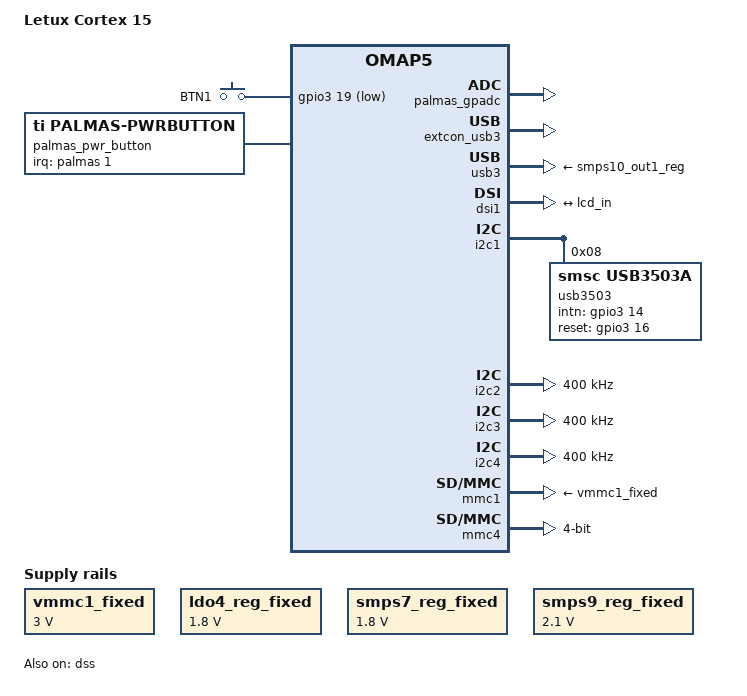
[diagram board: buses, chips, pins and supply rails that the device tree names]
/*
 * Copyright (C) 2015 Golden Delicous Computers - http://www.goldelico.com/
 *
 * This program is free software; you can redistribute it and/or modify
 * it under the terms of the GNU General Public License version 2 as
 * published by the Free Software Foundation.
 */

/* this version is for the Letux Cortex 15 CPU board */

/* we start with the omap5-uevm tree since the Letux Cortex is very similar */

#include "omap5-uevm.dts"

/* overwrite device model */

/ {
	model = "Letux Cortex 15";
};

&palmas {
	palmas_pwr_button: pwrbutton {
		compatible = "ti,palmas-pwrbutton";
		interrupt-parent = <&palmas>;
		interrupts = <1 IRQ_TYPE_EDGE_FALLING>;
		ti,palmas-long-press-seconds = <8>;
		ti,palmas-pwron-debounce-milli-seconds = <15>;
	};
	palmas_gpadc: gpadc {
		compatible = "ti,palmas-gpadc";
/*		ti,ch0_current = 0;
		ti,ch3_current = 0;
		ti,bat_removal = 0;
		ti,start_polarity = 0; */
	};

	extcon_usb3: palmas_usb {
		compatible = "ti,palmas-usb-vid";
		ti,enable-vbus-detection;
		ti,enable-id-detection;
		ti,wakeup;
	};

};

&usb3 {
       extcon = <&extcon_usb3>;
       vbus-supply = <&smps10_out1_reg>;
};

/* Audio routing */

&sound {
	ti,model = "Letux Cortex 15";

	pinctrl-names = "default";
	pinctrl-0 = <&ckobuffer>;

	/* Audio routing */
	ti,audio-routing =
		"Headset Stereophone", "HSOL",
		"Headset Stereophone", "HSOR",
		"Ext Spk", "HFL",
		"Ext Spk", "HFR",
		"Line Out", "AUXL",
		"Line Out", "AUXR",
		"AFML", "Line In",
		"AFMR", "Line In",
		"HSMIC", "Headset Mic",
		"Headset Mic", "Headset Mic Bias";
};

&twl6040_pins {
	pinctrl-single,pins = <
		OMAP5_IOPAD(0x0b2, PIN_INPUT_PULLUP | MUX_MODE6)	/* 0x0B0:[31:16]  gpio3_81 - twl6040 poweron */
	>;
};

&twl6040 {
	ti,audpwron-gpio = <&gpio3 17 0>;  /* gpio line 3_81 */
};

/* Audio needs clock enabled */

/ { /* should better be moved to omap5.dtsi because it is of general interest */
	ocp {
		omap5_control_ckobuffer: pinmux@4ae0cdb4 {
			compatible = "ti,omap4-padconf", "pinctrl-single";
			reg = <0x4ae0cdb4 4>;   /* Single register */
			#address-cells = <1>;
			#size-cells = <0>;
			pinctrl-single,register-width = <32>;
			pinctrl-single,function-mask = <0xf0000000>;
			pinctrl-single,bit-per-mux;
		};
	};
};

&omap5_control_ckobuffer {
	ckobuffer: pinmux_ckobuffer {
		pinctrl-single,pins = <
		/* same as devmem2 0x4AE0CDB4 w 0x10000000 */
		0x0 0x10000000  /* CONTROL.CONTROL_CKOBUFFER[28] CKOBUFFER_CLK_EN := 1 */
		>;
        };
};

/* LCD panel - MIPI */

&dss {
	status = "ok";

	pinctrl-names = "default";
	pinctrl-0 = <&mipi_dsi_a>;

	port {
		dsi_out: endpoint {
			remote-endpoint = <&dsi1>;
		};
	};
};

&dsi1 {
	status = "ok";

	vdd-supply = <&ldo4_reg>;

	port {
		dsi1_out_ep: endpoint {
			remote-endpoint = <&lcd_in>;
			lanes = <
				1       /* lane0x = clk - */
				0       /* lane0y = clk + */
				3       /* lane1x = data1 - */
				2       /* lane1y = data1 + */
				5       /* lane2x = data2 - */
				4       /* lane2y = data2 + */
				7       /* lane3x = data3 - */
				6       /* lane3y = data3 + */
				9       /* lane4x = data4 - */
				8       /* lane4y = data4 + */
			>;
		};
	};

	lcd: lcd {
		/* default to be overwritten by specific panel in derived board file
		   by using the /root/panelselect script */

		label = "lcd";

		pinctrl-names = "default";
		pinctrl-0 = <&mipi_display_pins>;

		port {
			lcd_in: endpoint {
				remote-endpoint = <&dsi1_out_ep>;
			};
		};
	};
};


/* add overlay pimmux for Letux Cortex 15 (differences to EVM) */

&omap5_pmx_core {

	pinctrl-0 = <
			/* copied from original */
			&usbhost_pins
			&led_gpio_pins

			/* new entries */
			&letux_button_pins
			&letux_other_pins
	>;

/* to find pinmux register offsets, see section A.7.2 in TRM

   note: offsets in the table are relative to 0x4a00 2800
   but reg = <0x4a002840 0x01b6> for omap5_pmx_core

   Therefore gpio5_153 with Address Offset 0x1D4
   translates into 0x194 (0xd0-0x40 => 0x90)
   and because it has [31:16] we have to add 0x02
   giving a result of 0x196.

   Definitions for bit patterns:
   0x0007	MUX_MODE0 .. MUX_MODE7
   0x0008	enable pull up/down
   0x0010	select pull up
   0x0020	disable power for I/O cell
   0x0100	enable input buffer (there is no explicit "enable output buffer" because that is defined by the GPIO direction)
   0x4000	enable wakeup detection

   or use the OMAP5_IOPAD() macros to do the conversion. You still have to look
   up the pin and register address offset in the TRM.
*/

	letux_button_pins: pinmux_button_gpio_pins {
		pinctrl-single,pins = <
//			OMAP5_IOPAD(0x0b6, PIN_INPUT_PULLUP | MUX_MODE6)	/* 0x0B4:[31:16] user button gpio3_83  -- pullup is not really necessary since there is an external pullup */
		>;
	};

// checkme: are there conflicts with imported uevm pinmux entries?
/* yes
	usbhost_pins - gpio3_79, gpio3_80
	tca6424_pins - gpio3_78
*/

// CHEKME: attach wk7/11 and others to &usbhost_wkup_pins?

	letux_other_pins: pinmux_other_gpio_pins {
		pinctrl-single,pins = <
			OMAP5_IOPAD(0x046, PIN_INPUT | MUX_MODE6)	/* 0x044:[31:16]  gpio1_wk7 - boot select input */
// inherited		OMAP5_IOPAD(0x05a, PIN_OUTPUT | MUX_MODE0)	/* 0x058:[31:16]  gpio1_wk11 - 19.2 MHz clock out */
			OMAP5_IOPAD(0x08e, PIN_INPUT | MUX_MODE6)	/* 0x08C:[31:16]  gpio2_32 - board revision */
			OMAP5_IOPAD(0x054, PIN_INPUT | MUX_MODE6)	/* 0x054:[15:0]  gpio2_33 - board revision */
			OMAP5_IOPAD(0x0ac, PIN_INPUT | MUX_MODE6)	/* 0x0AC:[15:0]  gpio3_78 - hub interrupt */
/* FIXME: reset for USB3503A - should be output connected to reset pulse generator or chip specific driver and/or be controlled by PHY */
			OMAP5_IOPAD(0x0b0, PIN_INPUT_PULLUP | MUX_MODE6)	/* 0x0B0:[15:0]  gpio3_80 - hub reset */
			OMAP5_IOPAD(0x084, PIN_INPUT | MUX_MODE6)	/* 0x084:[31:16]  gpio3_82 - eMMC/uSD switch */
			OMAP5_IOPAD(0x1d6, PIN_OUTPUT | MUX_MODE6)	/* 0x1D4:[31:16]  gpio5_153 - status LED (heartbeat) */
		>;
	};

	mipi_display_pins: pinmux_display_gpio_pins {
		pinctrl-single,pins = <
			OMAP5_IOPAD(0x0ca, PIN_INPUT_PULLDOWN | MUX_MODE7)	/* 0x0C8:[31:16] gpio6_189 - VSYNC input */
			OMAP5_IOPAD(0x0f6, PIN_INPUT_PULLDOWN | MUX_MODE7)	/* 0x0F4:[31:16] gpio6_190 - choose MUX_MODE0 for PWM_TIMER9 - choose MUX_MODE7 if panel outputs the PWM */
		>;
	};

/* I2C pinmux (i2c1 and i2c5 inherited from uevm) */

	i2c2_pins: pinmux_i2c2_pins {
		pinctrl-single,pins = <
			OMAP5_IOPAD(0x1b8, PIN_INPUT_PULLUP | MUX_MODE0)		/* i2c2_scl */
			OMAP5_IOPAD(0x1ba, PIN_INPUT_PULLUP | MUX_MODE0)		/* i2c2_sda */
		>;
	};

	i2c3_pins: pinmux_i2c3_pins {
		pinctrl-single,pins = <
			OMAP5_IOPAD(0x17a, PIN_INPUT_PULLUP | MUX_MODE0)		/* i2c3_scl */
			OMAP5_IOPAD(0x17c, PIN_INPUT_PULLUP | MUX_MODE0)		/* i2c3_sda */
		>;
	};

	i2c4_pins: pinmux_i2c4_pins {
		pinctrl-single,pins = <
			OMAP5_IOPAD(0x0f8, PIN_INPUT_PULLUP | MUX_MODE0)		/* i2c4_scl (gpio7_200) */
			OMAP5_IOPAD(0x0fa, PIN_INPUT_PULLUP | MUX_MODE0)		/* i2c4_sda (gpio7_201) */
		>;
	};

/* enable MIPI pinmux - we may not really need this because the PinMux only has MUX_MODE0 */

	mipi_dsi_a: pinmux_dsi_a_pins {
		pinctrl-single,pins = <
			OMAP5_IOPAD(0x0cc, PIN_OUTPUT | MUX_MODE0)	/* 0x0cc:[15:0]  dsiporta_lane0x */
			OMAP5_IOPAD(0x0ce, PIN_OUTPUT | MUX_MODE0)	/* 0x0cc:[31:16] dsiporta_lane0y */
			OMAP5_IOPAD(0x0d0, PIN_OUTPUT | MUX_MODE0)	/* 0x0d0:[15:0]  dsiporta_lane1x */
			OMAP5_IOPAD(0x0d2, PIN_OUTPUT | MUX_MODE0)	/* 0x0d0:[31:16] dsiporta_lane1y */
			OMAP5_IOPAD(0x0d4, PIN_OUTPUT | MUX_MODE0)	/* 0x0d4:[15:0]  dsiporta_lane2x */
			OMAP5_IOPAD(0x0d6, PIN_OUTPUT | MUX_MODE0)	/* 0x0d4:[31:16] dsiporta_lane2y */
			OMAP5_IOPAD(0x0d8, PIN_OUTPUT | MUX_MODE0)	/* 0x0d8:[15:0]  dsiporta_lane3x */
			OMAP5_IOPAD(0x0da, PIN_OUTPUT | MUX_MODE0)	/* 0x0d8:[31:16] dsiporta_lane3y */
			OMAP5_IOPAD(0x0dc, PIN_OUTPUT | MUX_MODE0)	/* 0x0dc:[15:0]  dsiporta_lane4x */
			OMAP5_IOPAD(0x0de, PIN_OUTPUT | MUX_MODE0)	/* 0x0dc:[31:16] dsiporta_lane4y */
		>;
	};

};

&hsusb2_phy {
	reset-gpios = <0>; /* free up hub reset gpio3_80 */
};

&hsusb3_phy {
	compatible = "none"; /* not connected */
	reset-gpios = <0>; /* free up gpio3_79 */
};

&i2c1 {
	/* usb bridge */
	usb3503@08 {
		compatible = "smsc,usb3503a";
		reg = <0x08>;
		intn-gpios = <&gpio3 14 GPIO_ACTIVE_HIGH>;	// gpio3_78 interrupt
		reset-gpios = <&gpio3 16 GPIO_ACTIVE_HIGH>;	// gpio3_80 reset
	//	connect-gpios - none
	//	refclk	// comes from OMAP5 FREF_CLK1_OUT/GPIO1_W K11
	//	refclk-frequency 19.2 MHz
		initial-mode = <1>;
	};
};

&i2c2 {
	clock-frequency = <400000>;

	pinctrl-names = "default";
	pinctrl-0 = <&i2c2_pins>;
};

&i2c3 {
	clock-frequency = <400000>;

	pinctrl-names = "default";
	pinctrl-0 = <&i2c3_pins>;
};

&i2c4 {
	clock-frequency = <400000>;

	pinctrl-names = "default";
	pinctrl-0 = <&i2c4_pins>;
};

/ { /* should have been defined by uevm */

	user-button {
		compatible = "gpio-keys";

		#address-cells = <7>;
		#size-cells = <0>;

		BTN1 {
			label = "BTN1";
			linux,code = <169>;
			gpios = <&gpio3 19 GPIO_ACTIVE_LOW>;	/* gpio3_83 is User Button */
			gpio-key,wakeup;
			autorepeat;
			debounce_interval = <50>;
		};

	};
};

/* disable components not on the Letux Cortex 15 board */

&tpd12s015 {
	compatible = "none";	// disable
};

&gpio9 {
	compatible = "none";	// disable
	reg = <0x03>;	// overwrite duplicate i2c5 address inherited from omap5-uevm
};

/* patches to correctly bring up the Letux 15 V4 CPU Board with broken OMAP5 <-> Palmas I2C1 */

/ {
	vmmc1_fixed: fixedregulator-mmc1 {
		compatible = "regulator-fixed";
		regulator-name = "vmmc1_fixed";
		regulator-min-microvolt = <3000000>;
		regulator-max-microvolt = <3000000>;
	};

	ldo4_reg_fixed: fixedregulator-ldo4 {
		compatible = "regulator-fixed";
		regulator-name = "ldo4";
		regulator-min-microvolt = <1800000>;
		regulator-max-microvolt = <1800000>;
	};

	smps7_reg_fixed: fixedregulator-smps7 {
		compatible = "regulator-fixed";
		regulator-name = "smps7";
		regulator-min-microvolt = <1800000>;
		regulator-max-microvolt = <1800000>;
	};

	smps9_reg_fixed: fixedregulator-smps9 {
		compatible = "regulator-fixed";
		regulator-name = "smps9";
		regulator-min-microvolt = <2100000>;
		regulator-max-microvolt = <2100000>;
	};
};

&hdmi {
	vdda-supply = <&ldo4_reg_fixed>;
};

&dsi1 {
	vdd-supply = <&ldo4_reg_fixed>;
};

&twl6040 {
	vio-supply = <&smps7_reg_fixed>;
	v2v1-supply = <&smps9_reg_fixed>;
};

&mmc1 { /* first SD slot */
	vmmc-supply = <&vmmc1_fixed>;	/* LDO9 is not working */
};

&mmc2 { /* eMMC / µSD-card */
	/* ti,non-removable; */
	/* define TXS02612 eMMC / µSD driver here */
};

&mmc3 { /* WiFi-SDIO */
	/* ti,non-removable; */
	// define a regulator-fixed GPIO */
};

&mmc4 { /* second SD slot */
	/* vmmc-supply = <&ldo2_reg> */
	bus-width = <4>;
	status = "okay";
};

&mmc5 {
	status = "disabled";
};
